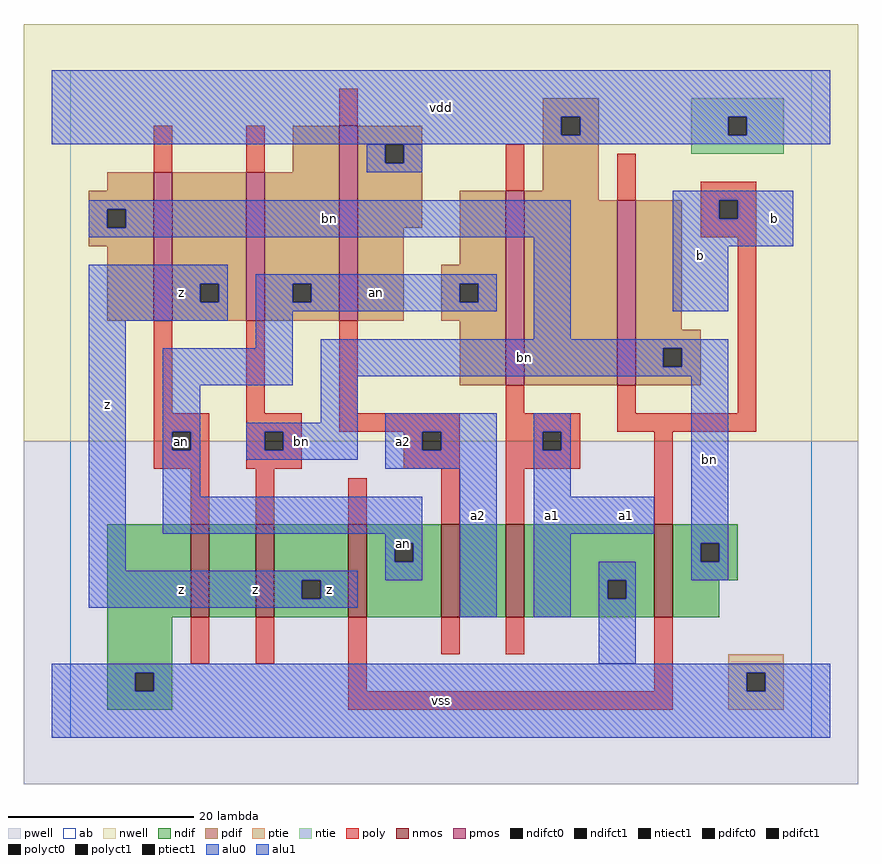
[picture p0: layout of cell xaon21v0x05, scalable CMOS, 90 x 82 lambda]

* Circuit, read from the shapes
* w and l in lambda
.subckt xaon21v0x05 a1 a2 an b bn vdd vss z
M1 n1 an vss vss nfet w=10 l=2
M2 z bn n1 vss nfet w=10 l=2
M3 an b z vss nfet w=10 l=2
M4 n2 a2 an vss nfet w=10 l=2
M5 vss a1 n2 vss nfet w=10 l=2
M6 bn b vss vss nfet w=10 l=2
M7 z an bn vdd pfet w=16 l=2
M8 an bn z vdd pfet w=16 l=2
M9 vdd a2 an vdd pfet w=21 l=2
M10 vdd a1 an vdd pfet w=21 l=2
M11 bn b vdd vdd pfet w=20 l=2
.ends

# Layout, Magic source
magic
tech scmos
<< ab >>
rect 0 0 80 72
<< nwell >>
rect -5 32 85 77
<< pwell >>
rect -5 -5 85 32
<< poly >>
rect 29 66 31 70
rect 9 61 11 66
rect 19 61 21 66
rect 47 59 49 64
rect 9 35 11 45
rect 19 35 21 45
rect 29 35 31 45
rect 59 58 61 63
rect 68 58 74 60
rect 68 56 70 58
rect 72 56 74 58
rect 68 54 74 56
rect 47 35 49 38
rect 59 35 61 38
rect 72 35 74 54
rect 9 33 15 35
rect 9 31 11 33
rect 13 31 15 33
rect 9 29 15 31
rect 19 33 25 35
rect 29 33 42 35
rect 19 31 21 33
rect 23 31 25 33
rect 19 29 25 31
rect 36 31 38 33
rect 40 31 42 33
rect 36 29 42 31
rect 13 23 15 29
rect 20 23 22 29
rect 30 23 32 28
rect 40 23 42 29
rect 47 33 55 35
rect 59 33 74 35
rect 47 31 51 33
rect 53 31 55 33
rect 47 29 55 31
rect 47 23 49 29
rect 63 23 65 33
rect 13 8 15 13
rect 20 8 22 13
rect 30 5 32 13
rect 40 9 42 13
rect 47 9 49 13
rect 63 5 65 13
rect 30 3 65 5
<< ndif >>
rect 4 13 13 23
rect 15 13 20 23
rect 22 17 30 23
rect 22 15 25 17
rect 27 15 30 17
rect 22 13 30 15
rect 32 21 40 23
rect 32 19 35 21
rect 37 19 40 21
rect 32 13 40 19
rect 42 13 47 23
rect 49 17 63 23
rect 49 15 58 17
rect 60 15 63 17
rect 49 13 63 15
rect 65 21 72 23
rect 65 19 68 21
rect 70 19 72 21
rect 65 17 72 19
rect 65 13 70 17
rect 4 7 11 13
rect 4 5 7 7
rect 9 5 11 7
rect 4 3 11 5
<< pdif >>
rect 51 67 57 69
rect 24 61 29 66
rect 4 59 9 61
rect 2 57 9 59
rect 2 55 4 57
rect 6 55 9 57
rect 2 53 9 55
rect 4 45 9 53
rect 11 49 19 61
rect 11 47 14 49
rect 16 47 19 49
rect 11 45 19 47
rect 21 49 29 61
rect 21 47 24 49
rect 26 47 29 49
rect 21 45 29 47
rect 31 64 38 66
rect 51 65 53 67
rect 55 65 57 67
rect 31 62 34 64
rect 36 62 38 64
rect 31 55 38 62
rect 51 59 57 65
rect 31 45 36 55
rect 42 51 47 59
rect 40 49 47 51
rect 40 47 42 49
rect 44 47 47 49
rect 40 45 47 47
rect 42 38 47 45
rect 49 58 57 59
rect 49 38 59 58
rect 61 44 66 58
rect 61 42 68 44
rect 61 40 64 42
rect 66 40 68 42
rect 61 38 68 40
<< alu1 >>
rect -2 67 82 72
rect -2 65 53 67
rect 55 65 71 67
rect 73 65 82 67
rect -2 64 82 65
rect 65 58 78 59
rect 2 49 17 51
rect 2 47 14 49
rect 16 47 17 49
rect 2 45 17 47
rect 2 18 6 45
rect 65 56 70 58
rect 72 56 78 58
rect 65 53 78 56
rect 65 46 71 53
rect 34 33 46 35
rect 34 31 38 33
rect 40 31 46 33
rect 34 29 46 31
rect 2 17 31 18
rect 2 15 25 17
rect 27 15 31 17
rect 2 14 31 15
rect 42 13 46 29
rect 50 33 54 35
rect 50 31 51 33
rect 53 31 54 33
rect 50 26 54 31
rect 50 22 63 26
rect 50 13 54 22
rect -2 7 82 8
rect -2 5 7 7
rect 9 5 73 7
rect 75 5 82 7
rect -2 0 82 5
<< ptie >>
rect 71 7 77 9
rect 71 5 73 7
rect 75 5 77 7
rect 71 3 77 5
<< ntie >>
rect 67 67 77 69
rect 67 65 71 67
rect 73 65 77 67
rect 67 63 77 65
<< nmos >>
rect 13 13 15 23
rect 20 13 22 23
rect 30 13 32 23
rect 40 13 42 23
rect 47 13 49 23
rect 63 13 65 23
<< pmos >>
rect 9 45 11 61
rect 19 45 21 61
rect 29 45 31 66
rect 47 38 49 59
rect 59 38 61 58
<< polyct0 >>
rect 11 31 13 33
rect 21 31 23 33
<< polyct1 >>
rect 70 56 72 58
rect 38 31 40 33
rect 51 31 53 33
<< ndifct0 >>
rect 35 19 37 21
rect 58 15 60 17
rect 68 19 70 21
<< ndifct1 >>
rect 25 15 27 17
rect 7 5 9 7
<< ntiect1 >>
rect 71 65 73 67
<< ptiect1 >>
rect 73 5 75 7
<< pdifct0 >>
rect 4 55 6 57
rect 24 47 26 49
rect 34 62 36 64
rect 42 47 44 49
rect 64 40 66 42
<< pdifct1 >>
rect 14 47 16 49
rect 53 65 55 67
<< alu0 >>
rect 32 62 34 64
rect 36 62 38 64
rect 32 61 38 62
rect 2 57 54 58
rect 2 55 4 57
rect 6 55 54 57
rect 2 54 54 55
rect 20 49 46 50
rect 20 47 24 49
rect 26 47 42 49
rect 44 47 46 49
rect 20 46 46 47
rect 20 42 24 46
rect 50 43 54 54
rect 10 38 24 42
rect 27 42 71 43
rect 27 40 64 42
rect 66 40 71 42
rect 27 39 71 40
rect 10 33 14 38
rect 27 34 31 39
rect 10 31 11 33
rect 13 31 14 33
rect 10 26 14 31
rect 19 33 31 34
rect 19 31 21 33
rect 23 31 31 33
rect 19 30 31 31
rect 10 22 38 26
rect 34 21 38 22
rect 34 19 35 21
rect 37 19 38 21
rect 34 17 38 19
rect 67 21 71 39
rect 67 19 68 21
rect 70 19 71 21
rect 57 17 61 19
rect 67 17 71 19
rect 57 15 58 17
rect 60 15 61 17
rect 57 8 61 15
<< labels >>
rlabel polyct0 12 32 12 32 6 an
rlabel alu0 36 21 36 21 6 an
rlabel alu0 25 32 25 32 6 bn
rlabel alu0 33 48 33 48 6 an
rlabel alu0 28 56 28 56 6 bn
rlabel alu0 69 30 69 30 6 bn
rlabel alu0 49 41 49 41 6 bn
rlabel alu1 12 16 12 16 6 z
rlabel alu1 4 36 4 36 6 z
rlabel alu1 12 48 12 48 6 z
rlabel alu1 28 16 28 16 6 z
rlabel alu1 20 16 20 16 6 z
rlabel alu1 36 32 36 32 6 a2
rlabel alu1 40 4 40 4 6 vss
rlabel alu1 44 24 44 24 6 a2
rlabel alu1 52 24 52 24 6 a1
rlabel alu1 40 68 40 68 6 vdd
rlabel alu1 60 24 60 24 6 a1
rlabel alu1 68 52 68 52 6 b
rlabel alu1 76 56 76 56 6 b
<< end >>
